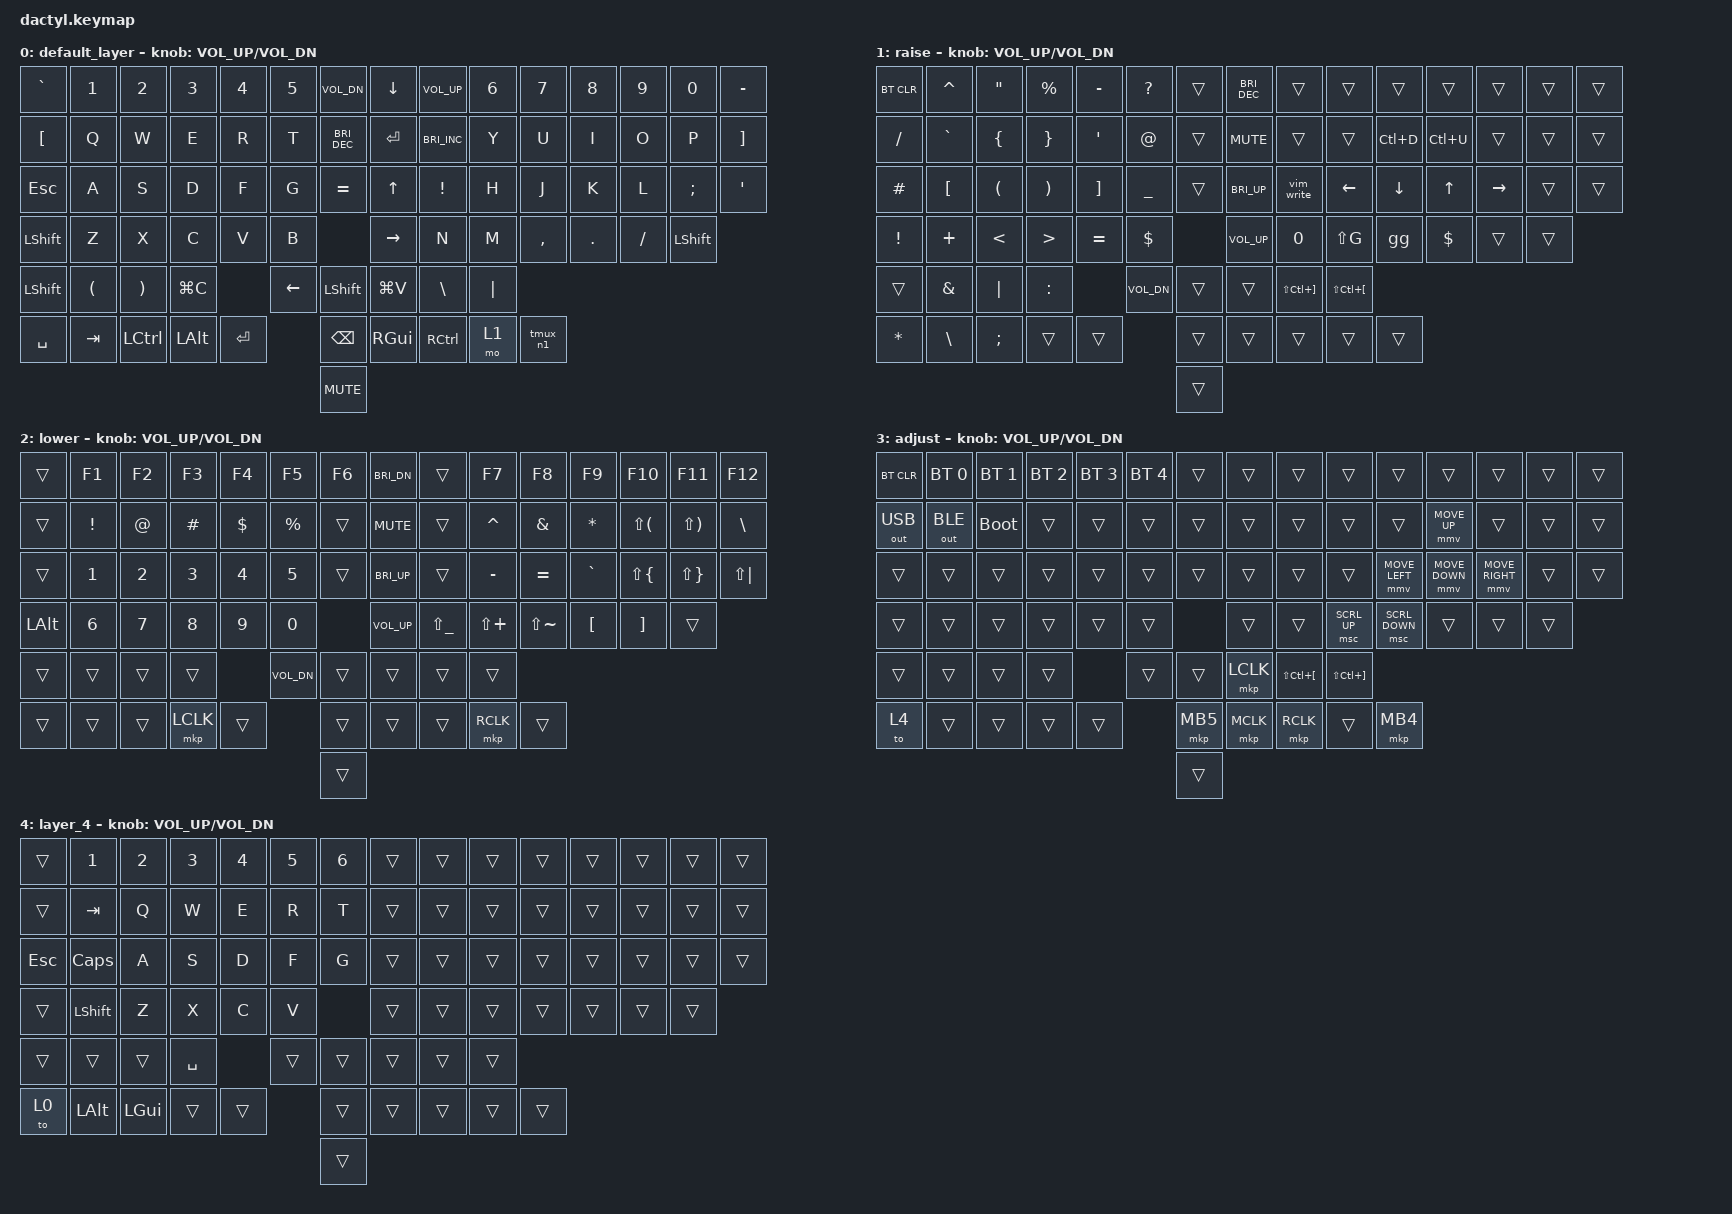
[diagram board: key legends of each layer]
#define ZMK_POINTING_DEFAULT_MOVE_VAL 1500  // default: 600
#define ZMK_POINTING_DEFAULT_SCRL_VAL 20    // default: 10

#include <dt-bindings/zmk/mouse.h>
#include <behaviors.dtsi>
#include <dt-bindings/zmk/bt.h>
#include <dt-bindings/zmk/keys.h>
#include <dt-bindings/zmk/outputs.h>
#include <dt-bindings/zmk/pointing.h>

#define DEFAULT 0
#define LOWER 1
#define RAISE 2
#define ADJUST 3

/ {
    macros {
        gg: gg {
            compatible = "zmk,behavior-macro";
            #binding-cells = <0>;
            bindings = <&kp G &kp G>;
            label = "GG";
        };

        vim_write: vim_write {
            compatible = "zmk,behavior-macro";
            #binding-cells = <0>;
            bindings = <&kp COLON &kp W &kp ENTER>;
            label = "VIM_WRITE";
        };

        tmux_n1: tmux_next {
            compatible = "zmk,behavior-macro";
            #binding-cells = <0>;
            bindings = <&kp LC(A) &kp N>;
            label = "TMUX_NEXT";
        };

        tmux_n2: tmux_n2 {
            compatible = "zmk,behavior-macro";
            #binding-cells = <0>;
            bindings = <&kp LC(A) &kp NUMBER_2>;
            label = "TMUX_N2";
        };

        tmux_n3: tmux_n3 {
            compatible = "zmk,behavior-macro";
            #binding-cells = <0>;
            bindings = <&kp LC(A) &kp NUMBER_3>;
            label = "TMUX_N3";
        };

        tmux_n4: tmux_n4 {
            compatible = "zmk,behavior-macro";
            #binding-cells = <0>;
            bindings = <&kp LC(A) &kp NUMBER_4>;
            label = "TMUX_N4";
        };
    };

    keymap {
        compatible = "zmk,keymap";

        // 78 bindings per layer (only physical keys, no &none padding)
        //
        // Row 0: 7L + 5way + 7R = 15    Row 3: 6L + 5way + 6R = 13
        // Row 1: 7L + 5way + 7R = 15    Row 4: 4L + 5way + 4R = 9
        // Row 2: 7L + 5way + 7R = 15    Row 5: 5L + 5R        = 10
        // Row 6: EC11 push       = 1     Total: 78
        //
        // 5-way: row0=down row1=center row2=up row3=right row4=left

        default_layer {
            bindings = <
&kp GRAVE         &kp N1                &kp N2                 &kp N3        &kp N4     &kp N5    &kp C_VOL_DN                   &kp DOWN_ARROW                      &kp C_VOLUME_UP  &kp N6    &kp N7     &kp N8   &kp N9    &kp N0          &kp MINUS
&kp LEFT_BRACKET  &kp Q                 &kp W                  &kp E         &kp R      &kp T     &kp C_BRI_DEC                  &kp ENTER                           &kp C_BRI_INC    &kp Y     &kp U      &kp I    &kp O     &kp P           &kp RIGHT_BRACKET
&kp ESCAPE        &kp A                 &kp S                  &kp D         &kp F      &kp G     &kp EQUAL                      &kp UP_ARROW                        &kp EXCL         &kp H     &kp J      &kp K    &kp L     &kp SEMI        &kp APOS
&kp LEFT_SHIFT    &kp Z                 &kp X                  &kp C         &kp V      &kp B                                    &kp RIGHT_ARROW                     &kp N            &kp M     &kp COMMA  &kp DOT  &kp FSLH  &kp LEFT_SHIFT
&kp LEFT_SHIFT    &kp LEFT_PARENTHESIS  &kp RIGHT_PARENTHESIS  &kp LG(C)                &kp LEFT                 &kp LEFT_SHIFT  &kp LG(V)        &kp BACKSLASH      &kp PIPE
&kp SPACE         &kp TAB               &kp LEFT_CONTROL       &kp LEFT_ALT  &kp ENTER                           &kp BACKSPACE   &kp RGUI         &kp RIGHT_CONTROL  &mo 1            &tmux_n1
                                                                                                                 &kp K_MUTE
            >;

            sensor-bindings = <&inc_dec_kp C_VOL_UP C_VOL_DN>;
        };

        raise {
            bindings = <
&bt BT_CLR    &kp CARET         &kp DOUBLE_QUOTES     &kp PERCENT            &kp MINUS          &kp QUESTION    &trans          &kp C_BRI_DEC                             &trans                    &trans     &trans          &trans        &trans     &trans  &trans
&kp SLASH     &kp GRAVE         &kp LEFT_BRACE        &kp RIGHT_BRACE        &kp SINGLE_QUOTE   &kp AT          &trans          &kp K_MUTE                                &trans                    &trans     &kp LC(D)       &kp LC(U)     &trans     &trans  &trans
&kp HASH      &kp LEFT_BRACKET  &kp LEFT_PARENTHESIS  &kp RIGHT_PARENTHESIS  &kp RIGHT_BRACKET  &kp UNDERSCORE  &trans          &kp C_BRI_UP                              &vim_write                &kp LEFT   &kp DOWN_ARROW  &kp UP_ARROW  &kp RIGHT  &trans  &trans
&kp EXCL      &kp PLUS          &kp LESS_THAN         &kp GREATER_THAN       &kp EQUAL          &kp DOLLAR                      &kp C_VOL_UP                              &kp N0                    &kp LS(G)  &gg             &kp DOLLAR    &trans     &trans
&trans        &kp AMPS          &kp PIPE              &kp COLON                                 &kp C_VOL_DN            &trans  &trans         &kp LS(LC(RIGHT_BRACKET))  &kp LS(LC(LEFT_BRACKET))
&kp ASTERISK  &kp BACKSLASH     &kp SEMICOLON         &trans                 &trans                                     &trans  &trans         &trans                     &trans                    &trans
                                                                                                                        &trans
            >;

            sensor-bindings = <&inc_dec_kp C_VOL_UP C_VOL_DN>;
        };

        lower {
            bindings = <
&trans    &kp F1    &kp F2  &kp F3     &kp F4      &kp F5        &kp F6          &kp C_BRI_DN             &trans         &kp F7        &kp F8         &kp F9     &kp F10       &kp F11       &kp F12
&trans    &kp EXCL  &kp AT  &kp HASH   &kp DOLLAR  &kp PERCENT   &trans          &kp K_MUTE               &trans         &kp CARET     &kp AMPS       &kp ASTRK  &kp LS(LPAR)  &kp LS(RPAR)  &kp BSLH
&trans    &kp N1    &kp N2  &kp N3     &kp N4      &kp N5        &trans          &kp C_BRI_UP             &trans         &kp MINUS     &kp EQUAL      &kp GRAVE  &kp LS(LBRC)  &kp LS(RBRC)  &kp LS(PIPE)
&kp LALT  &kp N6    &kp N7  &kp N8     &kp N9      &kp N0                        &kp C_VOLUME_UP          &kp LS(UNDER)  &kp LS(PLUS)  &kp LS(TILDE)  &kp LBKT   &kp RBKT      &trans
&trans    &trans    &trans  &trans                 &kp C_VOL_DN          &trans  &trans           &trans  &trans
&trans    &trans    &trans  &mkp LCLK  &trans                            &trans  &trans           &trans  &mkp RCLK      &trans
                                                                         &trans
            >;

            sensor-bindings = <&inc_dec_kp C_VOL_UP C_VOL_DN>;
        };

        adjust {
            bindings = <
&bt BT_CLR    &bt BT_SEL 0  &bt BT_SEL 1  &bt BT_SEL 2  &bt BT_SEL 3  &bt BT_SEL 4  &trans            &trans                               &trans                     &trans        &trans          &trans          &trans           &trans  &trans
&out OUT_USB  &out OUT_BLE  &bootloader   &trans        &trans        &trans        &trans            &trans                               &trans                     &trans        &trans          &mmv MOVE_UP    &trans           &trans  &trans
&trans        &trans        &trans        &trans        &trans        &trans        &trans            &trans                               &trans                     &trans        &mmv MOVE_LEFT  &mmv MOVE_DOWN  &mmv MOVE_RIGHT  &trans  &trans
&trans        &trans        &trans        &trans        &trans        &trans                          &trans                               &trans                     &msc SCRL_UP  &msc SCRL_DOWN  &trans          &trans           &trans
&trans        &trans        &trans        &trans                      &trans                &trans    &mkp LCLK  &kp LS(LC(LEFT_BRACKET))  &kp LS(LC(RIGHT_BRACKET))
&to 4         &trans        &trans        &trans        &trans                              &mkp MB5  &mkp MCLK  &mkp RCLK                 &trans                     &mkp MB4
                                                                                            &trans
            >;

            sensor-bindings = <&inc_dec_kp C_VOL_UP C_VOL_DN>;
        };

        layer_4 {
            bindings = <
&trans      &kp N1     &kp N2    &kp N3     &kp N4  &kp N5  &kp N6          &trans          &trans  &trans  &trans  &trans  &trans  &trans  &trans
&trans      &kp TAB    &kp Q     &kp W      &kp E   &kp R   &kp T           &trans          &trans  &trans  &trans  &trans  &trans  &trans  &trans
&kp ESCAPE  &kp CAPS   &kp A     &kp S      &kp D   &kp F   &kp G           &trans          &trans  &trans  &trans  &trans  &trans  &trans  &trans
&trans      &kp LSHFT  &kp Z     &kp X      &kp C   &kp V                   &trans          &trans  &trans  &trans  &trans  &trans  &trans
&trans      &trans     &trans    &kp SPACE          &trans          &trans  &trans  &trans  &trans
&to 0       &kp LALT   &kp LGUI  &trans     &trans                  &trans  &trans  &trans  &trans  &trans
                                                                    &trans
            >;

            sensor-bindings = <&inc_dec_kp C_VOL_UP C_VOL_DN>;
        };
    };
};
